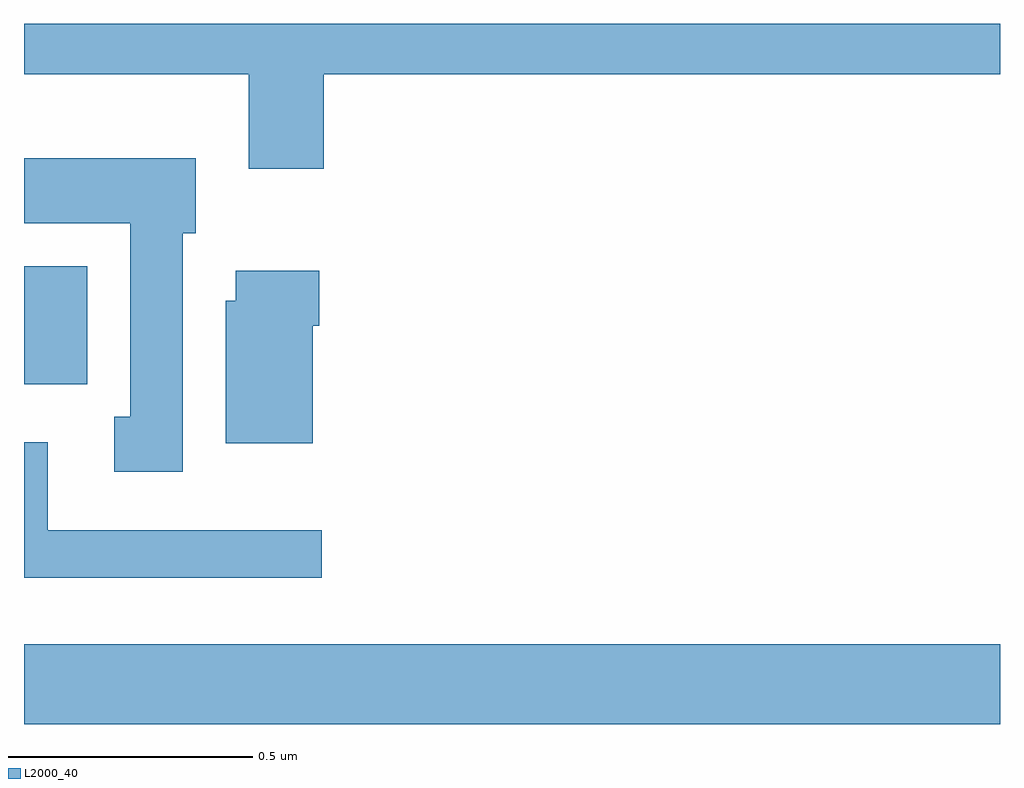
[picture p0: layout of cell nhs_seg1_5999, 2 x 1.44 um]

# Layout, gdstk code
import gdstk
lib = gdstk.Library(unit=1e-6, precision=1e-09)
def R(c, l, rs):  # rectangles x0, y0, x1, y1
    for r in rs: c.add(gdstk.rectangle(r[:2], r[2:], *l))
def P(c, l, *ps):  # polygons
    for p in ps: c.add(gdstk.Polygon(p, *l))
L2000_40 = (2000, 40)

nhs_seg1_5999 = lib.new_cell('nhs_seg1_5999')
R(nhs_seg1_5999, L2000_40, [(186,519.764,188,519.928), (186,520.46,186.13,520.702)])
P(nhs_seg1_5999, L2000_40, [(186.614,521.096),(188,521.096),(188,521.199),(186,521.199),(186,521.096),(186.461,521.096),(186.461,520.902),(186.614,520.902)],
  [(186.325,520.77),(186.352,520.77),(186.352,520.924),(186,520.924),(186,520.79),(186.218,520.79),(186.218,520.394),(186.185,520.394),(186.185,520.281),(186.325,520.281)],
  [(186.592,520.58),(186.605,520.58),(186.605,520.693),(186.434,520.693),(186.434,520.632),(186.413,520.632),(186.413,520.34),(186.592,520.34)],
  [(186.61,520.161),(186.049,520.161),(186.049,520.342),(186,520.342),(186,520.064),(186.61,520.064)])

lib.write_gds('nhs_seg1_5999.gds')
